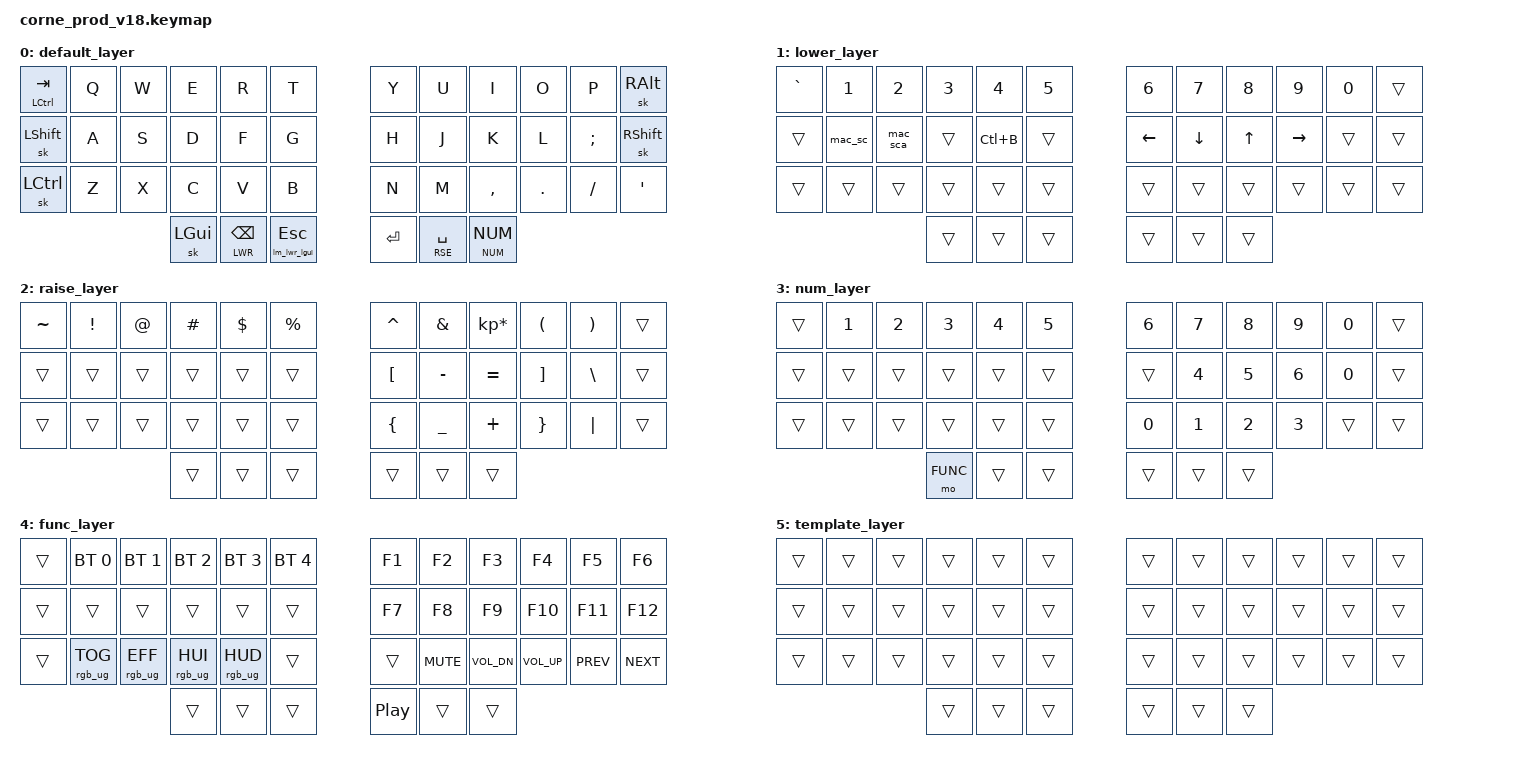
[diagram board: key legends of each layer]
/*
 * Copyright (c) 2020 The ZMK Contributors
 * SPDX-License-Identifier: MIT
 *
 * Corne Keymap v18
 * Reference: https://zmk.dev/docs/keymaps/behaviors/key-press
 *
 * Changes from v17:
 *  - Removed unused behaviors: sc_oneshot_shift_td, comma_oneshot_ctrl_td
 *  - Removed unused macros: alt_backspace, lm (two-param)
 *  - Added NUM layer (layer 3): numbers + arrows, mirrors Lower
 *    Default rightmost thumb now activates NUM instead of FUNC directly
 *  - FUNC layer moved to layer 4, now requires two deliberate thumbs:
 *      hold right outer thumb (→ NUM) + hold left outer thumb (→ FUNC)
 *  - BT_CLR kept as combo (BT_SEL0 + BT_SEL1) on FUNC for extra safety
 *  - FUNC layer right half: F1–F12 + media controls (was all &trans)
 */

#include <behaviors.dtsi>
#include <dt-bindings/zmk/keys.h>
#include <dt-bindings/zmk/bt.h>
#include <dt-bindings/zmk/rgb.h>

// ============================================================
// Hardware
// ============================================================

&led_strip {
    chain-length = <27>;
};

// ============================================================
// Layer indices
// ============================================================

#define DEFAULT 0
#define DFT     0
#define LWR     1
#define RSE     2
#define NUM     3
#define FUNC    4

// ============================================================
// Macro aliases
// ============================================================

#define mac_sc  macos_screenshot
#define mac_sca macos_screenshot_with_annotation
#define mac_in  macos_input

// ============================================================
// Macros
// ============================================================

/ {
    macros {

        // Switch macOS input method (Ctrl+Alt+Space)
        macos_input: macos_input {
            compatible = "zmk,behavior-macro";
            #binding-cells = <0>;
            bindings
                = <&macro_press   &kp LCTRL>
                , <&macro_press   &kp LALT>
                , <&macro_tap     &kp SPACE>
                , <&macro_release &kp LALT>
                , <&macro_release &kp LCTRL>
                ;
        };

        // macOS screenshot to clipboard (Cmd+Ctrl+Shift+4)
        macos_screenshot: macos_screenshot {
            compatible = "zmk,behavior-macro";
            #binding-cells = <0>;
            bindings
                = <&macro_press   &kp LGUI>
                , <&macro_press   &kp LCTRL>
                , <&macro_press   &kp LSHFT>
                , <&macro_tap     &kp N4>
                , <&macro_release &kp LSHFT>
                , <&macro_release &kp LCTRL>
                , <&macro_release &kp LGUI>
                ;
        };

        // macOS screenshot with annotation (Cmd+Shift+4)
        macos_screenshot_with_annotation: macos_screenshot_with_annotation {
            compatible = "zmk,behavior-macro";
            #binding-cells = <0>;
            bindings
                = <&macro_press   &kp LGUI>
                , <&macro_press   &kp LSHFT>
                , <&macro_tap     &kp N4>
                , <&macro_release &kp LSHFT>
                , <&macro_release &kp LGUI>
                ;
        };

        // Ctrl+Alt+Arrow macros (workspace/window navigation)
        ctrl_alt_left: ctrl_alt_left {
            compatible = "zmk,behavior-macro";
            #binding-cells = <0>;
            bindings
                = <&macro_press   &kp LCTRL>
                , <&macro_press   &kp LALT>
                , <&macro_tap     &kp LEFT>
                , <&macro_release &kp LALT>
                , <&macro_release &kp LCTRL>
                ;
        };

        ctrl_alt_right: ctrl_alt_right {
            compatible = "zmk,behavior-macro";
            #binding-cells = <0>;
            bindings
                = <&macro_press   &kp LCTRL>
                , <&macro_press   &kp LALT>
                , <&macro_tap     &kp RIGHT>
                , <&macro_release &kp LALT>
                , <&macro_release &kp LCTRL>
                ;
        };

        ctrl_alt_up: ctrl_alt_up {
            compatible = "zmk,behavior-macro";
            #binding-cells = <0>;
            bindings
                = <&macro_press   &kp LCTRL>
                , <&macro_press   &kp LALT>
                , <&macro_tap     &kp UP>
                , <&macro_release &kp LALT>
                , <&macro_release &kp LCTRL>
                ;
        };

        ctrl_alt_down: ctrl_alt_down {
            compatible = "zmk,behavior-macro";
            #binding-cells = <0>;
            bindings
                = <&macro_press   &kp LCTRL>
                , <&macro_press   &kp LALT>
                , <&macro_tap     &kp DOWN>
                , <&macro_release &kp LALT>
                , <&macro_release &kp LCTRL>
                ;
        };

        ctrl_alt_enter: ctrl_alt_enter {
            compatible = "zmk,behavior-macro";
            #binding-cells = <0>;
            bindings
                = <&macro_press   &kp LCTRL>
                , <&macro_press   &kp LALT>
                , <&macro_tap     &kp RET>
                , <&macro_release &kp LALT>
                , <&macro_release &kp LCTRL>
                ;
        };

        // Cmd+` (cycle windows of same app)
        cmd_grave: cmd_grave {
            compatible = "zmk,behavior-macro";
            #binding-cells = <0>;
            bindings
                = <&macro_press   &kp LGUI>
                , <&macro_tap     &kp GRAVE>
                , <&macro_release &kp LGUI>
                ;
        };

        // Cmd+1..5 (switch tabs/spaces)
        cmd_1: cmd_1 {
            compatible = "zmk,behavior-macro";
            #binding-cells = <0>;
            bindings
                = <&macro_press   &kp LGUI>
                , <&macro_tap     &kp N1>
                , <&macro_release &kp LGUI>
                ;
        };

        cmd_2: cmd_2 {
            compatible = "zmk,behavior-macro";
            #binding-cells = <0>;
            bindings
                = <&macro_press   &kp LGUI>
                , <&macro_tap     &kp N2>
                , <&macro_release &kp LGUI>
                ;
        };

        cmd_3: cmd_3 {
            compatible = "zmk,behavior-macro";
            #binding-cells = <0>;
            bindings
                = <&macro_press   &kp LGUI>
                , <&macro_tap     &kp N3>
                , <&macro_release &kp LGUI>
                ;
        };

        cmd_4: cmd_4 {
            compatible = "zmk,behavior-macro";
            #binding-cells = <0>;
            bindings
                = <&macro_press   &kp LGUI>
                , <&macro_tap     &kp N4>
                , <&macro_release &kp LGUI>
                ;
        };

        cmd_5: cmd_5 {
            compatible = "zmk,behavior-macro";
            #binding-cells = <0>;
            bindings
                = <&macro_press   &kp LGUI>
                , <&macro_tap     &kp N5>
                , <&macro_release &kp LGUI>
                ;
        };

        // Zero-param wrapper: hold LWR layer + LGUI simultaneously
        lm_lwr_lgui: lm_lwr_lgui {
            compatible = "zmk,behavior-macro";
            #binding-cells = <0>;
            wait-ms = <0>;
            tap-ms  = <0>;
            bindings
                = <&macro_press   &mo LWR>
                , <&macro_press   &kp LGUI>
                , <&macro_pause_for_release>
                , <&macro_release &kp LGUI>
                , <&macro_release &mo LWR>
                ;
        };
    };
};

// ============================================================
// Behaviors
// ============================================================

/ {
    behaviors {

        // tap -> ESC   |   hold -> LWR layer + LGUI
        ht_lm_esc: ht_lm_esc {
            compatible = "zmk,behavior-hold-tap";
            label = "HT_LM_ESC";
            #binding-cells = <2>;
            tapping-term-ms = <200>;
            flavor = "tap-preferred";
            bindings = <&lm_lwr_lgui>, <&kp>;
        };

        // tap -> sticky layer (one-shot)   |   hold -> momentary layer
        ht_sl_mo: ht_sl_mo {
            compatible = "zmk,behavior-hold-tap";
            label = "HT_SL_MO";
            #binding-cells = <2>;
            tapping-term-ms = <200>;
            flavor = "tap-preferred";
            bindings = <&mo>, <&sl>;
        };

    };
};

// ============================================================
// Combos
// ============================================================

/ {
    combos {
        compatible = "zmk,combos";

        // BT_CLR: press BT_SEL0 + BT_SEL1 simultaneously on FUNC layer
        // Key positions (0-indexed, row-major): 1 = BT_SEL0, 2 = BT_SEL1
        // FUNC is already behind a two-thumb gate; this combo is extra safety.
        combo_bt_clr {
            timeout-ms = <50>;
            key-positions = <1 2>;
            bindings = <&bt BT_CLR>;
            layers = <FUNC>;
        };
    };
};

// ============================================================
// Keymap
// ============================================================

/ {
    keymap {
        compatible = "zmk,keymap";

        // ----------------------------------------------------
        // Layer 0 — Default (QWERTY)
        //
        // ┌──────────┬───┬───┬───┬───┬───┐   ┌───┬───┬───┬───┬───┬──────────┐
        // │TAB/LCTRL │ Q │ W │ E │ R │ T │   │ Y │ U │ I │ O │ P │ SK_RALT  │
        // ├──────────┼───┼───┼───┼───┼───┤   ├───┼───┼───┼───┼───┼──────────┤
        // │ SK_SHFT  │ A │ S │ D │ F │ G │   │ H │ J │ K │ L │ ; │ SK_SHFT  │
        // ├──────────┼───┼───┼───┼───┼───┤   ├───┼───┼───┼───┼───┼──────────┤
        // │ SK_CTRL  │ Z │ X │ C │ V │ B │   │ N │ M │ , │ . │ / │    '     │
        // └──────────┴───┴───┴─┬─┴─┬─┴─┬┘   └┬──┴─┬─┴─┬─┴───┴───┴──────────┘
        //                      │SK │BSP│ESC   │ENT │SPC│tap:SK │
        //                      │GUI│LWR│LWR   │    │RSE│hld:MO │
        //                      │   │   │+GUI  │    │   │  NUM  │
        //                      └───┴───┘       └────┴───┘
        // ----------------------------------------------------
        default_layer {
            bindings = <
   &mt LCTRL TAB   &kp Q  &kp W  &kp E  &kp R        &kp T          &kp Y    &kp U          &kp I      &kp O    &kp P     &sk RALT
   &sk LSHFT       &kp A  &kp S  &kp D  &kp F        &kp G          &kp H    &kp J          &kp K      &kp L    &kp SEMI  &sk RSHFT
   &sk LCTRL       &kp Z  &kp X  &kp C  &kp V        &kp B          &kp N    &kp M          &kp COMMA  &kp DOT  &kp FSLH  &kp SQT
                                  &sk LGUI  &lt LWR BSPC  &ht_lm_esc 0 ESC   &kp RET  &lt RSE SPACE  &ht_sl_mo NUM NUM
            >;
        };

        // ----------------------------------------------------
        // Layer 1 — Lower  (hold left BSPC thumb)
        //
        // ┌─────┬───┬───┬───┬───┬───┐   ┌───┬───┬───┬───┬───┬─────┐
        // │  `  │ 1 │ 2 │ 3 │ 4 │ 5 │   │ 6 │ 7 │ 8 │ 9 │ 0 │     │
        // ├─────┼───┼───┼───┼───┼───┤   ├───┼───┼───┼───┼───┼─────┤
        // │     │SC │SCA│   │C-b│   │   │ ← │ ↓ │ ↑ │ → │   │     │
        // ├─────┼───┼───┼───┼───┼───┤   ├───┼───┼───┼───┼───┼─────┤
        // │     │   │   │   │   │   │   │   │   │   │   │   │     │
        // └─────┴───┴───┴───┴───┴───┘   └───┴───┴───┴───┴───┴─────┘
        // SC  = macOS screenshot to clipboard (Cmd+Ctrl+Shift+4)
        // SCA = macOS screenshot with annotation (Cmd+Shift+4)
        // ----------------------------------------------------
        lower_layer {
            bindings = <
   &kp GRAVE  &kp N1   &kp N2    &kp N3  &kp N4     &kp N5    &kp N6    &kp N7    &kp N8  &kp N9     &kp N0  &trans
   &trans     &mac_sc  &mac_sca  &trans  &kp LC(B)  &trans    &kp LEFT  &kp DOWN  &kp UP  &kp RIGHT  &trans  &trans
   &trans     &trans   &trans    &trans  &trans     &trans    &trans    &trans    &trans  &trans     &trans  &trans
                                 &trans  &trans     &trans    &trans    &trans    &trans
            >;
        };

        // ----------------------------------------------------
        // Layer 2 — Raise  (hold right SPC thumb)
        //
        // ┌─────┬───┬───┬───┬───┬───┐   ┌───┬───┬───┬───┬───┬─────┐
        // │  ~  │ ! │ @ │ # │ $ │ % │   │ ^ │ & │ * │ ( │ ) │     │
        // ├─────┼───┼───┼───┼───┼───┤   ├───┼───┼───┼───┼───┼─────┤
        // │     │   │   │   │   │   │   │ [ │ - │ = │ ] │ \ │     │
        // ├─────┼───┼───┼───┼───┼───┤   ├───┼───┼───┼───┼───┼─────┤
        // │     │   │   │   │   │   │   │ { │ _ │ + │ } │ | │     │
        // └─────┴───┴───┴───┴───┴───┘   └───┴───┴───┴───┴───┴─────┘
        // ----------------------------------------------------
        raise_layer {
            bindings = <
   &kp TILDE  &kp EXCL  &kp AT  &kp HASH  &kp DLLR  &kp PRCNT    &kp CARET  &kp AMPS   &kp KP_MULTIPLY  &kp LPAR  &kp RPAR  &trans
   &trans     &trans    &trans  &trans    &trans    &trans       &kp LBKT   &kp MINUS  &kp EQUAL        &kp RBKT  &kp BSLH  &trans
   &trans     &trans    &trans  &trans    &trans    &trans       &kp LBRC   &kp UNDER  &kp PLUS         &kp RBRC  &kp PIPE  &trans
                                &trans    &trans    &trans       &trans     &trans     &trans
            >;
        };

        // ----------------------------------------------------
        // Layer 3 — Nav  (hold right outer thumb)
        //
        // Left half: backtick + 1-5 number row, screenshot macros on home row.
        // Right half: numpad 7-9 / 4-6 / 1-3, with 0 on right inner thumb.
        // Left outer thumb gates FUNC.
        //
        // ┌──────┬───┬───┬───┬───┬───┐   ┌───┬───┬───┬───┬───┬─────┐
        // │      │ 1 │ 2 │ 3 │ 4 │ 5 │   │ 6 │ 7 │ 8 │ 9 │ 0 │     │
        // ├──────┼───┼───┼───┼───┼───┤   ├───┼───┼───┼───┼───┼─────┤
        // │      │   │   │   │   │   │   │   │ 4 │ 5 │ 6 │ 0 │     │
        // ├──────┼───┼───┼───┼───┼───┤   ├───┼───┼───┼───┼───┼─────┤
        // │      │   │   │   │   │   │   │ 0 │ 1 │ 2 │ 3 │   │     │
        // └──────┴───┴───┴───┴───┴───┘   └───┴───┴───┴───┴───┴─────┘
        //               │FUNC│    │    │   │    │    │(held)│
        // ----------------------------------------------------
        num_layer {
            bindings = <
   &trans     &kp N1  &kp N2  &kp N3  &kp N4   &kp N5    &kp N6  &kp N7  &kp N8  &kp N9  &kp N0  &trans
   &trans     &trans  &trans  &trans  &trans   &trans    &trans  &kp N4  &kp N5  &kp N6  &kp N0  &trans
   &trans     &trans  &trans  &trans  &trans   &trans    &kp N0  &kp N1  &kp N2  &kp N3  &trans  &trans
                               &mo FUNC  &trans  &trans  &trans  &trans  &trans
            >;
        };

        // ----------------------------------------------------
        // Layer 4 — Func  (NUM + left outer thumb)
        //
        // Requires two deliberate thumb holds to reach. BT_CLR is
        // additionally guarded by a combo (BT_SEL0 + BT_SEL1).
        //
        // ┌─────┬────┬────┬────┬────┬────┐   ┌────┬────┬────┬────┬────┬────┐
        // │     │BT0 │BT1 │BT2 │BT3 │BT4 │   │ F1 │ F2 │ F3 │ F4 │ F5 │ F6 │
        // ├─────┼────┼────┼────┼────┼────┤   ├────┼────┼────┼────┼────┼────┤
        // │     │    │    │    │    │    │   │ F7 │ F8 │ F9 │F10 │F11 │F12 │
        // ├─────┼────┼────┼────┼────┼────┤   ├────┼────┼────┼────┼────┼────┤
        // │     │TOG │EFF │HUI │HUD │    │   │    │MUTE│VOLD│VOLU│PREV│NEXT│
        // └─────┴────┴────┴────┴────┴────┘   └────┴────┴────┴────┴────┴────┘
        //               │(held)│    │    │   │ PP │    │    │
        //
        // BT0-4  = select Bluetooth profile 0-4
        // BTCLR  = combo BT0+BT1 simultaneously
        // TOG    = toggle RGB underglow on/off
        // EFF    = cycle RGB effect
        // HUI/D  = hue increase / decrease
        // MUTE   = mute/unmute
        // VOLD/U = volume down / up
        // PREV/NEXT = media previous / next track
        // PP     = play / pause
        // ----------------------------------------------------
        func_layer {
            bindings = <
   &trans  &bt BT_SEL 0     &bt BT_SEL 1     &bt BT_SEL 2     &bt BT_SEL 3     &bt BT_SEL 4    &kp F1    &kp F2       &kp F3        &kp F4        &kp F5      &kp F6
   &trans  &trans           &trans           &trans           &trans           &trans          &kp F7    &kp F8       &kp F9        &kp F10       &kp F11     &kp F12
   &trans  &rgb_ug RGB_TOG  &rgb_ug RGB_EFF  &rgb_ug RGB_HUI  &rgb_ug RGB_HUD  &trans          &trans    &kp C_MUTE   &kp C_VOL_DN  &kp C_VOL_UP  &kp C_PREV  &kp C_NEXT
                                             &trans           &trans           &trans          &kp C_PP  &trans       &trans
            >;
        };

        // ----------------------------------------------------
        // Layer 5 — Template  (unused / reserved)
        // ----------------------------------------------------
        template_layer {
            bindings = <
   &trans  &trans  &trans  &trans  &trans  &trans    &trans  &trans  &trans  &trans  &trans  &trans
   &trans  &trans  &trans  &trans  &trans  &trans    &trans  &trans  &trans  &trans  &trans  &trans
   &trans  &trans  &trans  &trans  &trans  &trans    &trans  &trans  &trans  &trans  &trans  &trans
                           &trans  &trans  &trans    &trans  &trans  &trans
            >;
        };
    };
};
